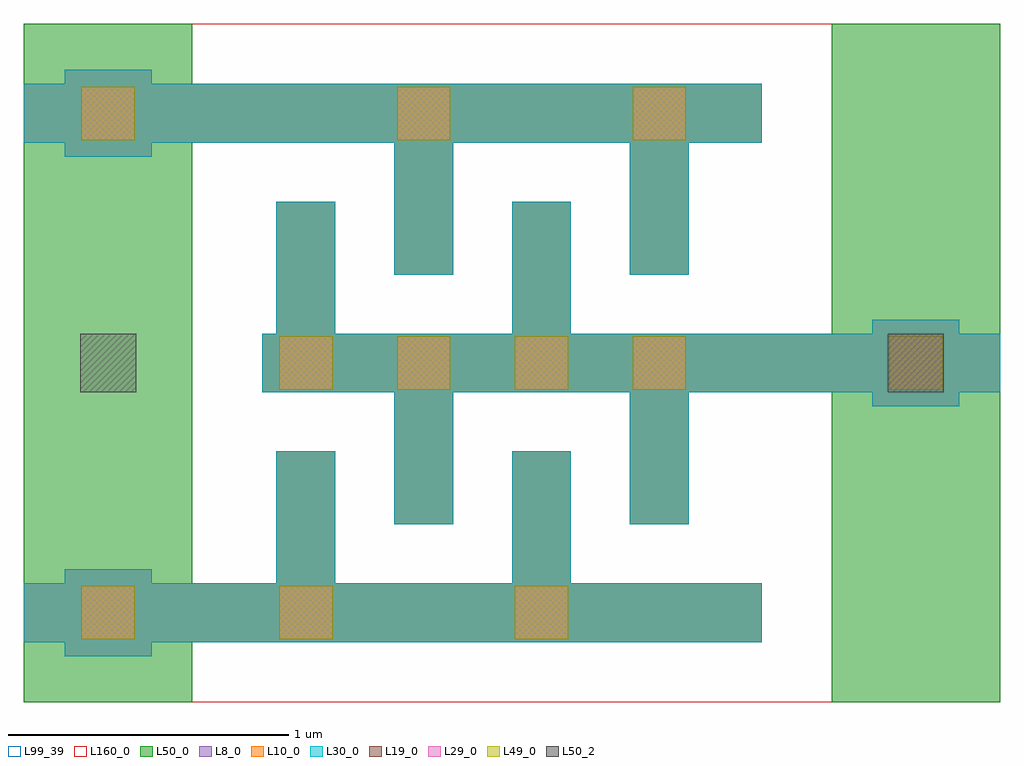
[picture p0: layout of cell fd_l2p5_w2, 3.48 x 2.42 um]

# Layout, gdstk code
import gdstk
lib = gdstk.Library(unit=1e-6, precision=1e-09)
def R(c, l, rs):  # rectangles x0, y0, x1, y1
    for r in rs: c.add(gdstk.rectangle(r[:2], r[2:], *l))
def A(c, l, x, y, w, h, nx, ny, dx, dy):  # array of equal rectangles
    R(c, l, [(x+i*dx, y+j*dy, x+i*dx+w, y+j*dy+h) for i in range(nx) for j in range(ny)])
L8_0 = (8, 0)
L10_0 = (10, 0)
L19_0 = (19, 0)
L29_0 = (29, 0)
L30_0 = (30, 0)
L49_0 = (49, 0)
L50_0 = (50, 0)
L50_2 = (50, 2)
L99_39 = (99, 39)
L160_0 = (160, 0)

fd_l2p5_w2 = lib.new_cell('fd_l2p5_w2')
R(fd_l2p5_w2, L8_0, [(-0.755,-0.155,-0.445,0.155), (-0.9,-0.105,1.73,0.105), (0,0,0.21,0.575), (0.84,0,1.05,0.575), (0.42,0.315,0.63,0.89), (1.26,0.315,1.47,0.89), (2.125,0.735,2.435,1.045), (-0.05,0.785,2.58,0.995), (0,0.89,0.21,1.465), (0.84,0.89,1.05,1.465), (0.42,1.205,0.63,1.78), (1.26,1.205,1.47,1.78), (-0.755,1.625,-0.445,1.935), (-0.9,1.675,1.73,1.885)])
R(fd_l2p5_w2, L10_0, [(-0.755,-0.155,-0.445,0.155), (-0.9,-0.105,1.73,0.105), (0,0,0.21,0.575), (0.84,0,1.05,0.575), (0.42,0.315,0.63,0.89), (1.26,0.315,1.47,0.89), (2.125,0.735,2.435,1.045), (-0.05,0.785,2.58,0.995), (0,0.89,0.21,1.465), (0.84,0.89,1.05,1.465), (0.42,1.205,0.63,1.78), (1.26,1.205,1.47,1.78), (-0.755,1.625,-0.445,1.935), (-0.9,1.675,1.73,1.885)])
A(fd_l2p5_w2, L19_0, 0.01, 0.795, 0.19, 0.19, 4, 1, 0.42, 0)
R(fd_l2p5_w2, L19_0, [(-0.695,-0.095,-0.505,0.095), (0.01,-0.095,0.2,0.095), (0.85,-0.095,1.04,0.095), (2.185,0.795,2.375,0.985), (-0.695,1.685,-0.505,1.875), (0.43,1.685,0.62,1.875), (1.27,1.685,1.46,1.875)])
A(fd_l2p5_w2, L29_0, 0.01, 0.795, 0.19, 0.19, 4, 1, 0.42, 0)
R(fd_l2p5_w2, L29_0, [(-0.695,-0.095,-0.505,0.095), (0.01,-0.095,0.2,0.095), (0.85,-0.095,1.04,0.095), (2.185,0.795,2.375,0.985), (-0.695,1.685,-0.505,1.875), (0.43,1.685,0.62,1.875), (1.27,1.685,1.46,1.875)])
R(fd_l2p5_w2, L30_0, [(-0.755,-0.155,-0.445,0.155), (-0.9,-0.105,1.73,0.105), (0,0,0.21,0.575), (0.84,0,1.05,0.575), (0.42,0.315,0.63,0.89), (1.26,0.315,1.47,0.89), (2.125,0.735,2.435,1.045), (-0.05,0.785,2.58,0.995), (0,0.89,0.21,1.465), (0.84,0.89,1.05,1.465), (0.42,1.205,0.63,1.78), (1.26,1.205,1.47,1.78), (-0.755,1.625,-0.445,1.935), (-0.9,1.675,1.73,1.885)])
A(fd_l2p5_w2, L49_0, 0.01, 0.795, 0.19, 0.19, 4, 1, 0.42, 0)
R(fd_l2p5_w2, L49_0, [(-0.695,-0.095,-0.505,0.095), (0.01,-0.095,0.2,0.095), (0.85,-0.095,1.04,0.095), (2.185,0.795,2.375,0.985), (-0.695,1.685,-0.505,1.875), (0.43,1.685,0.62,1.875), (1.27,1.685,1.46,1.875)])
R(fd_l2p5_w2, L50_0, [(-0.9,-0.32,-0.3,2.1), (1.98,-0.32,2.58,2.1), (-0.9,-0.105,1.73,0.105), (0,0,0.21,0.575), (0.84,0,1.05,0.575), (0.42,0.315,0.63,0.89), (1.26,0.315,1.47,0.89), (-0.05,0.785,2.58,0.995), (0,0.89,0.21,1.465), (0.84,0.89,1.05,1.465), (0.42,1.205,0.63,1.78), (1.26,1.205,1.47,1.78), (-0.9,1.675,1.73,1.885)])
R(fd_l2p5_w2, L50_2, [(-0.7,0.785,-0.5,0.995), (2.18,0.785,2.38,0.995)])
R(fd_l2p5_w2, L99_39, [(-0.9,-0.32,2.58,2.1)])
R(fd_l2p5_w2, L160_0, [(-0.9,-0.32,2.58,2.1)])
fd_l2p5_w2.add(gdstk.Label('cap_cmomi C=1.630fF', (-0.9,-0.82), layer=63, texttype=0))

lib.write_gds('fd_l2p5_w2.gds')
